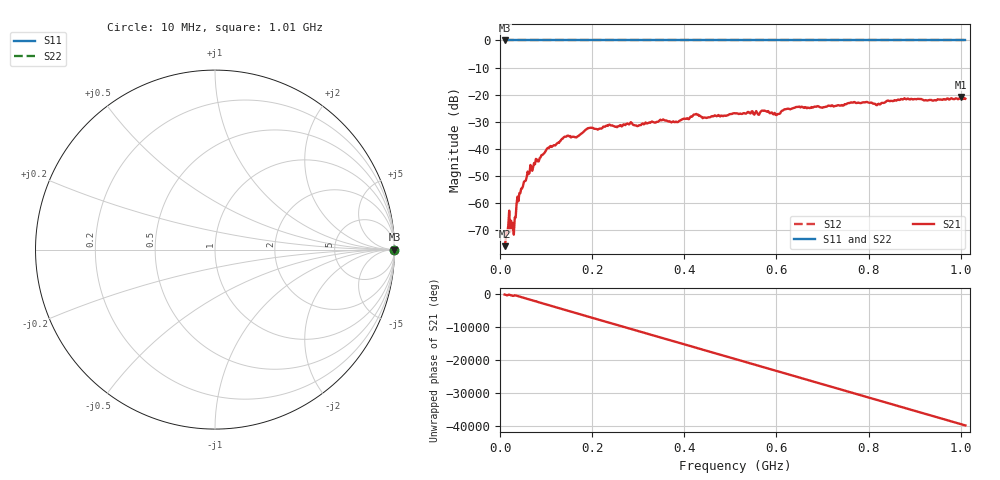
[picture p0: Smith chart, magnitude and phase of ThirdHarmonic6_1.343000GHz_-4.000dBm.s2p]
! 8/16/2025 3:04:29 PM
! C:\ANRITSUVNA\TEMP\TEMP.S2P
! CHANNEL.1
! TR.MEASUREMENT
! RAW.DATA
! RF.CORRECTION.OFF
! AVERAGING.OFF
! IF.BANDWIDTH: 5KHZ
! SWEEPTYPE:  FREQ.SWEEP(Linear)
! Reference Plane Port Info
! PORT:  PORT1  PORT2
! DISTANCE:  0  m  0  m
! TIME:  0  s  0  s
! PHASE.OFFSET:  0  deg.  0  deg.
! LOSS:  0  dB  0  dB
! REF.LOSS:  0  dB  0  dB
! REF.FREQ:  0  Hz  0  Hz
! Power Info
! POWER:  -20  dBm  -20  dBm
! EFF.POWER:  -20  dBm  -20  dBm
! SOURCE.ATTEN:  0  dB  0  dB
! TEST.ATTEN:  0  dB  0  dB
# GHZ S RI R 50.0
! FREQ.GHZ  S11RE  S11IM  S21RE  S21IM  S12RE  S12IM  S22RE  S22IM
!; PortSelection: Port_12
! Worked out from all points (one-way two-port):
!   501 points, 10 MHz to 1.01 GHz, reference 50 ohm
!   highest |S21| = -20.91 dB at 1 GHz (marker M1); lowest = -76.0 dB at 10 MHz (marker M2)
!   lowest |S11| = 0.0 dB at 10 MHz (marker M3)
!   |S11| at or under -10 dB: nowhere
!   |S22| runs from 0.0 to 0.0 dB; largest |S21 - S12| = 1.1
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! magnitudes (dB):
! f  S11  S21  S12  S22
! 10 MHz  0.0  -76.0  0.0  0.0
! 16 MHz  0.0  -70.8  0.0  0.0
! 20 MHz  0.0  -62.8  0.0  0.0
! 24 MHz  0.0  -66.6  0.0  0.0
! 26 MHz  0.0  -69.7  0.0  0.0
! 30 MHz  0.0  -71.7  0.0  0.0
! 42 MHz  0.0  -56.3  0.0  0.0
! 62 MHz  0.0  -49.4  0.0  0.0
! 76 MHz  0.0  -45.7  0.0  0.0
! 106 MHz  0.0  -39.7  0.0  0.0
! 138 MHz  0.0  -35.8  0.0  0.0
! 178 MHz  0.0  -34.3  0.0  0.0
! 194 MHz  0.0  -32.3  0.0  0.0
! 344 MHz  0.0  -29.9  0.0  0.0
! 510 MHz  0.0  -26.9  0.0  0.0
! 572 MHz  0.0  -26.0  0.0  0.0
! 602 MHz  0.0  -27.2  0.0  0.0
! 622 MHz  0.0  -25.3  0.0  0.0
! 678 MHz  0.0  -24.8  0.0  0.0
! 844 MHz  0.0  -22.3  0.0  0.0
! 1 GHz  0.0  -20.9  0.0  0.0
! 1.01 GHz  0.0  -21.5  0.0  0.0
